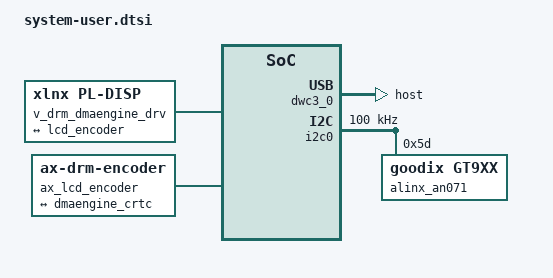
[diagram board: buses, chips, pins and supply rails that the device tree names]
/include/ "system-conf.dtsi"
/ {
};

/* SD */
&sdhci1 {
	disable-wp;
	no-1-8-v;
};

/* USB  */
&dwc3_0 {
    status = "okay";
    dr_mode = "host";
};

&i2c0 {
    clock-frequency = <100000>;
    alinx_an071@5D {  				
        compatible = "goodix,gt9xx"; 
        reg = <0x5D>;  
        interrupt-parent = <&gic>;
        interrupts = <0 91 4>;
    }; 	
};

&v_tc_0 {
	compatible = "xlnx,bridge-v-tc-6.1";
	xlnx,pixels-per-clock = <1>;
};

&axi_dynclk_0 {
	compatible = "digilent,axi-dynclk";
	#clock-cells = <0x0>;			
	linux,phandle = <0xc>;
	phandle = <0xc>;
};

&amba {
	v_drm_dmaengine_drv: drm-dmaengine-drv {
		compatible = "xlnx,pl-disp";
		dmas = <&axi_vdma_0 0>;
		dma-names = "dma0";
		xlnx,vformat = "RG24";
		xlnx,bridge = <&v_tc_0>;
		#address-cells = <1>;
		#size-cells = <0>;

		dmaengine_port: port@0 {
			reg = <0>;
			dmaengine_crtc: endpoint {
				remote-endpoint = <&lcd_encoder>;
			};
		};
	};
	ax_lcd_encoder: ax_lcd_encoder  {
		compatible = "ax-drm-encoder";
		ports {
			#address-cells = <1>;
			#size-cells = <0>;
			encoder_lcd_port: port@0 {
				reg = <0>;
				lcd_encoder: endpoint {
					remote-endpoint = <&dmaengine_crtc>;
				};
			};
		};
	};
};






















